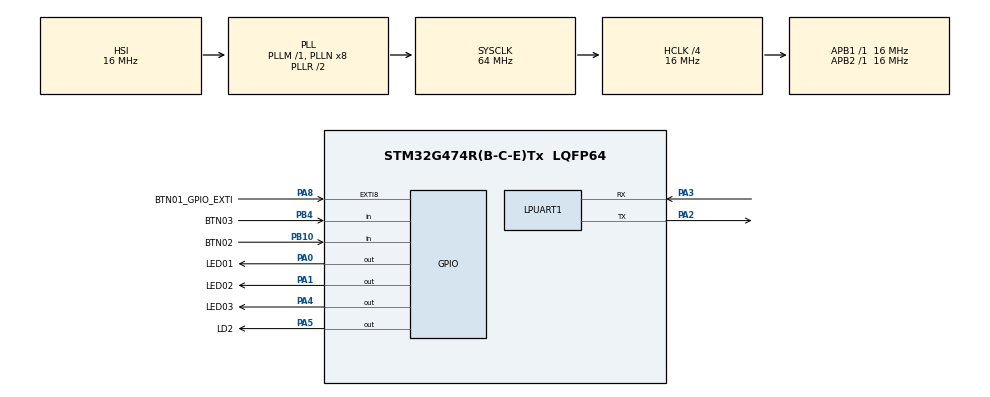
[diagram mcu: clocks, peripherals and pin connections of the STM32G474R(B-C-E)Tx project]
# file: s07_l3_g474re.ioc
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Dma.LPUART1_TX.0.Direction=DMA_MEMORY_TO_PERIPH
Dma.LPUART1_TX.0.EventEnable=DISABLE
Dma.LPUART1_TX.0.Instance=DMA1_Channel1
Dma.LPUART1_TX.0.MemDataAlignment=DMA_MDATAALIGN_BYTE
Dma.LPUART1_TX.0.MemInc=DMA_MINC_ENABLE
Dma.LPUART1_TX.0.Mode=DMA_NORMAL
Dma.LPUART1_TX.0.PeriphDataAlignment=DMA_PDATAALIGN_BYTE
Dma.LPUART1_TX.0.PeriphInc=DMA_PINC_DISABLE
Dma.LPUART1_TX.0.Polarity=HAL_DMAMUX_REQ_GEN_RISING
Dma.LPUART1_TX.0.Priority=DMA_PRIORITY_LOW
Dma.LPUART1_TX.0.RequestNumber=1
Dma.LPUART1_TX.0.SignalID=NONE
Dma.LPUART1_TX.0.SyncEnable=DISABLE
Dma.LPUART1_TX.0.SyncPolarity=HAL_DMAMUX_SYNC_NO_EVENT
Dma.LPUART1_TX.0.SyncRequestNumber=1
Dma.LPUART1_TX.0.SyncSignalID=NONE
Dma.Request0=LPUART1_TX
Mcu.Family=STM32G4
Mcu.Name=STM32G474R(B-C-E)Tx
Mcu.Package=LQFP64
NVIC.DMA1_Channel1_IRQn=true\:0\:0\:false\:false\:true\:false\:true\:true
NVIC.EXTI9_5_IRQn=true\:5\:0\:true\:false\:true\:true\:true\:true
NVIC.LPUART1_IRQn=true\:6\:0\:true\:false\:true\:true\:true\:true
NVIC.PriorityGroup=NVIC_PRIORITYGROUP_4
NVIC.TIM1_BRK_TIM15_IRQn=true\:15\:0\:false\:false\:true\:false\:true\:true
NVIC.TimeBase=TIM1_BRK_TIM15_IRQn
NVIC.TimeBaseIP=TIM15
PA0.GPIO_Label=LED01
PA0.Signal=GPIO_Output
PA1.GPIO_Label=LED02
PA1.Signal=GPIO_Output
PA13.Mode=Serial_Wire
PA13.Signal=SYS_JTMS-SWDIO
PA14.Mode=Serial_Wire
PA14.Signal=SYS_JTCK-SWCLK
PA2.Mode=Asynchronous
PA2.Signal=LPUART1_TX
PA3.Mode=Asynchronous
PA3.Signal=LPUART1_RX
PA4.GPIO_Label=LED03
PA4.Signal=GPIO_Output
PA5.GPIO_Label=LD2
PA5.Signal=GPIO_Output
PA8.GPIO_Label=BTN01_GPIO_EXTI
PA8.GPIO_ModeDefaultEXTI=GPIO_MODE_IT_FALLING
PA8.GPIO_PuPd=GPIO_PULLUP
PA8.Signal=GPXTI8
PB10.GPIO_Label=BTN02
PB10.GPIO_PuPd=GPIO_PULLUP
PB10.Signal=GPIO_Input
PB4.GPIO_Label=BTN03
PB4.GPIO_PuPd=GPIO_PULLUP
PB4.Signal=GPIO_Input
ProjectManager.HeapSize=0x200
ProjectManager.StackSize=0x400
ProjectManager.TargetToolchain=STM32CubeIDE
RCC.ADC12Freq_Value=64000000
RCC.ADC345Freq_Value=64000000
RCC.AHBCLKDivider=RCC_SYSCLK_DIV4
RCC.AHBFreq_Value=16000000
RCC.APB1Freq_Value=16000000
RCC.APB1TimFreq_Value=16000000
RCC.APB2Freq_Value=16000000
RCC.APB2TimFreq_Value=16000000
RCC.CortexFreq_Value=16000000
RCC.EXTERNAL_CLOCK_VALUE=12288000
RCC.HCLKFreq_Value=16000000
RCC.HSE_VALUE=24000000
RCC.HSI48_VALUE=48000000
RCC.HSI_VALUE=16000000
RCC.LSE_VALUE=32768
RCC.RTCClockSelection=RCC_RTCCLKSOURCE_LSE
RCC.SYSCLKFreq_VALUE=64000000
RCC.SYSCLKSource=RCC_SYSCLKSOURCE_PLLCLK
RCC.USBFreq_Value=64000000
RCC.VCOOutputFreq_Value=128000000
VP_SYS_VS_DBSignals.Mode=DisableDeadBatterySignals
VP_SYS_VS_tim15.Mode=TIM15
board=NUCLEO-G474RE

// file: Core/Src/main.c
/* USER CODE BEGIN Header */
/**
  ******************************************************************************
  * @file           : main.c
  * @brief          : Main program body
  ******************************************************************************
  * @attention
  *
  * Copyright (c) 2026 STMicroelectronics.
  * All rights reserved.
  *
  * This software is licensed under terms that can be found in the LICENSE file
  * in the root directory of this software component.
  * If no LICENSE file comes with this software, it is provided AS-IS.
  *
  ******************************************************************************

  */
/* USER CODE END Header */
#include "main.h"

/* USER CODE BEGIN Includes */
#include <stdio.h>
#include <string.h>
#include "FreeRTOS.h"
#include "task.h"
#include <semphr.h>
/* USER CODE END Includes */

UART_HandleTypeDef hlpuart1;
DMA_HandleTypeDef hdma_lpuart1_tx;

/* USER CODE BEGIN PV */

UBaseType_t xWaterMark01 = 0, xWaterMark02 = 0, xWaterMark03 = 0;

SemaphoreHandle_t xUartTxSemaphore = NULL;
SemaphoreHandle_t xMessageMutex = NULL;

/* USER CODE END PV */

void SystemClock_Config(void);
static void MX_GPIO_Init(void);
static void MX_DMA_Init(void);
static void MX_LPUART1_UART_Init(void);

/* USER CODE BEGIN 0 */

/* Hardware realted functions */

// Led interno da NUCLEO-G474RE
void LedLD2On(){
	HAL_GPIO_WritePin(LD2_GPIO_Port, LD2_Pin, GPIO_PIN_SET);
}

void LedLD2Off(){
	HAL_GPIO_WritePin(LD2_GPIO_Port, LD2_Pin, GPIO_PIN_RESET);
}

void Led01On(){
	HAL_GPIO_WritePin(LED01_GPIO_Port, LED01_Pin, GPIO_PIN_SET);
}

void Led01Off(){
	HAL_GPIO_WritePin(LED01_GPIO_Port, LED01_Pin, GPIO_PIN_RESET);
}

void Led02On(){
	HAL_GPIO_WritePin(LED02_GPIO_Port, LED02_Pin, GPIO_PIN_SET);
}

void Led02Off(){
	HAL_GPIO_WritePin(LED02_GPIO_Port, LED02_Pin, GPIO_PIN_RESET);
}

void Led03On(){
	HAL_GPIO_WritePin(LED03_GPIO_Port, LED03_Pin, GPIO_PIN_SET);
}

void Led03Off(){
	HAL_GPIO_WritePin(LED03_GPIO_Port, LED03_Pin, GPIO_PIN_RESET);
}
/* Local functions*/

/* Callbacks */
void HAL_UART_TxHalfCpltCallback(UART_HandleTypeDef *huart){
	BaseType_t pxHigherPriorityTaskWoken = pdFALSE;

	// Libera o semaforo
	xSemaphoreGiveFromISR(xUartTxSemaphore, &pxHigherPriorityTaskWoken);

	portYIELD_FROM_ISR(pxHigherPriorityTaskWoken);
}

void HAL_GPIO_EXTI_Callback(uint16_t GPIO_Pin){

}

/* Tasks */
void TaskUartMessageFromMars(void *pvParams){
	char pcMessage[64];
	uint32_t u32MessageIdx = 0;

	while (1){
		// Retorna a quantidade mínima de espaço livre que restou na pilha
		xWaterMark01 = uxTaskGetStackHighWaterMark( NULL );

		sprintf(pcMessage, "[%lu] This is a message from Mars to Earth\n", u32MessageIdx);

		// Obter o mutex
		xSemaphoreTake(xMessageMutex, portMAX_DELAY);
		Led01On();

		HAL_UART_Transmit_DMA(&hlpuart1, (uint8_t*)pcMessage, strlen(pcMessage));

		// Obter o semaforo
		xSemaphoreTake(xUartTxSemaphore, portMAX_DELAY);
		Led01Off();

		xSemaphoreGive(xMessageMutex); // libera o mutex

		u32MessageIdx++;
		vTaskDelay(100);
	}
}

void TaskUartMessageFromVenus(void *pvParams){
	char pcMessage[64];
	uint32_t u32MessageIdx = 0;

	while (1){
		// Retorna a quantidade mínima de espaço livre que restou na pilha
		xWaterMark02 = uxTaskGetStackHighWaterMark( NULL );

		sprintf(pcMessage, "[%lu] This is a message from Venus to Earth\n", u32MessageIdx);

		// Obter o mutex
		xSemaphoreTake(xMessageMutex, portMAX_DELAY);
		Led02On();

		HAL_UART_Transmit_DMA(&hlpuart1, (uint8_t*)pcMessage, strlen(pcMessage));

		// Obter o semaforo
		xSemaphoreTake(xUartTxSemaphore, portMAX_DELAY);
		Led02Off();

		xSemaphoreGive(xMessageMutex); // libera o mutex

		u32MessageIdx++;
		vTaskDelay(100);
	}
}

void TaskUartMessageFromSaturn(void *pvParams){
	char pcMessage[64];
	uint32_t u32MessageIdx = 0;

	while (1){
		// Retorna a quantidade mínima de espaço livre que restou na pilha
		xWaterMark03 = uxTaskGetStackHighWaterMark( NULL );

		sprintf(pcMessage, "[%lu] This is a message from Saturn to Earth\n", u32MessageIdx);

		// Obter o mutex
		xSemaphoreTake(xMessageMutex, portMAX_DELAY);
		Led03On();

		HAL_UART_Transmit_DMA(&hlpuart1, (uint8_t*)pcMessage, strlen(pcMessage));

		// Obter o semaforo
		xSemaphoreTake(xUartTxSemaphore, portMAX_DELAY);
		Led03Off();

		xSemaphoreGive(xMessageMutex); // libera o mutex

		u32MessageIdx++;
		vTaskDelay(100);
	}
}

/* Hooks*/
void vApplicationStackOverflowHook( TaskHandle_t xTask, char *pcTaskName ){
	Error_Handler();
	LedLD2Off();
}

/* USER CODE END 0 */

int main(void)
{

  /* USER CODE BEGIN 1 */
	TaskHandle_t TaskHandle01, TaskHandle02, TaskHandle03;
	BaseType_t xReturn;
	BaseType_t uxStackDepth = 164; // em words

  /* USER CODE END 1 */

  /* MCU Configuration--------------------------------------------------------*/

  /* Reset of all peripherals, Initializes the Flash interface and the Systick. */
  HAL_Init();

  /* Configure the system clock */
  SystemClock_Config();

  /* Initialize all configured peripherals */
  MX_GPIO_Init();
  MX_DMA_Init();
  MX_LPUART1_UART_Init();
  /* USER CODE BEGIN 2 */

  LedLD2On();

  // Criando as task
  xReturn = xTaskCreate(TaskUartMessageFromMars,
  		  "Task Mars",
		  uxStackDepth,
  		  NULL,
  		  1,
  		  &TaskHandle01);

  if (xReturn != pdPASS){
    Error_Handler();
  }

  xReturn = xTaskCreate(TaskUartMessageFromVenus,
			"Task Venus",
			uxStackDepth,
			NULL,
			1,
			&TaskHandle02);

    if (xReturn != pdPASS){
      Error_Handler();
    }

    xReturn = xTaskCreate(TaskUartMessageFromSaturn,
		  "Task Saturn",
		  uxStackDepth,
		  NULL,
		  1,
		  &TaskHandle03);

  if (xReturn != pdPASS){
	Error_Handler();
  }

  // Criando o semaforo
  xUartTxSemaphore = xSemaphoreCreateBinary();

  // Criando o mutex
  xMessageMutex = xSemaphoreCreateMutex();

  /* USER CODE END 2 */

  /* Infinite loop */
  /* USER CODE BEGIN WHILE */

  // Inicializando o FreeRTOS
  vTaskStartScheduler();

  /* Never reaches here */
  while (1)
  {
    /* USER CODE END WHILE */

  }
}

void SystemClock_Config(void)
{
  RCC_OscInitTypeDef RCC_OscInitStruct = {0};
  RCC_ClkInitTypeDef RCC_ClkInitStruct = {0};

  /** Configure the main internal regulator output voltage
  */
  HAL_PWREx_ControlVoltageScaling(PWR_REGULATOR_VOLTAGE_SCALE1);

  /** Initializes the RCC Oscillators according to the specified parameters
  * in the RCC_OscInitTypeDef structure.
  */
  RCC_OscInitStruct.OscillatorType = RCC_OSCILLATORTYPE_HSI;
  RCC_OscInitStruct.HSIState = RCC_HSI_ON;
  RCC_OscInitStruct.HSICalibrationValue = RCC_HSICALIBRATION_DEFAULT;
  RCC_OscInitStruct.PLL.PLLState = RCC_PLL_ON;
  RCC_OscInitStruct.PLL.PLLSource = RCC_PLLSOURCE_HSI;
  RCC_OscInitStruct.PLL.PLLM = RCC_PLLM_DIV1;
  RCC_OscInitStruct.PLL.PLLN = 8;
  RCC_OscInitStruct.PLL.PLLP = RCC_PLLP_DIV2;
  RCC_OscInitStruct.PLL.PLLQ = RCC_PLLQ_DIV2;
  RCC_OscInitStruct.PLL.PLLR = RCC_PLLR_DIV2;
  if (HAL_RCC_OscConfig(&RCC_OscInitStruct) != HAL_OK)
  {
    Error_Handler();
  }

  /** Initializes the CPU, AHB and APB buses clocks
  */
  RCC_ClkInitStruct.ClockType = RCC_CLOCKTYPE_HCLK|RCC_CLOCKTYPE_SYSCLK
                              |RCC_CLOCKTYPE_PCLK1|RCC_CLOCKTYPE_PCLK2;
  RCC_ClkInitStruct.SYSCLKSource = RCC_SYSCLKSOURCE_PLLCLK;
  RCC_ClkInitStruct.AHBCLKDivider = RCC_SYSCLK_DIV4;
  RCC_ClkInitStruct.APB1CLKDivider = RCC_HCLK_DIV1;
  RCC_ClkInitStruct.APB2CLKDivider = RCC_HCLK_DIV1;

  if (HAL_RCC_ClockConfig(&RCC_ClkInitStruct, FLASH_LATENCY_0) != HAL_OK)
  {
    Error_Handler();
  }
}

static void MX_LPUART1_UART_Init(void)
{

  hlpuart1.Instance = LPUART1;
  hlpuart1.Init.BaudRate = 115200;
  hlpuart1.Init.WordLength = UART_WORDLENGTH_8B;
  hlpuart1.Init.StopBits = UART_STOPBITS_1;
  hlpuart1.Init.Parity = UART_PARITY_NONE;
  hlpuart1.Init.Mode = UART_MODE_TX_RX;
  hlpuart1.Init.HwFlowCtl = UART_HWCONTROL_NONE;
  hlpuart1.Init.OneBitSampling = UART_ONE_BIT_SAMPLE_DISABLE;
  hlpuart1.Init.ClockPrescaler = UART_PRESCALER_DIV1;
  hlpuart1.AdvancedInit.AdvFeatureInit = UART_ADVFEATURE_NO_INIT;
  if (HAL_UART_Init(&hlpuart1) != HAL_OK)
  {
    Error_Handler();
  }
  if (HAL_UARTEx_SetTxFifoThreshold(&hlpuart1, UART_TXFIFO_THRESHOLD_1_8) != HAL_OK)
  {
    Error_Handler();
  }
  if (HAL_UARTEx_SetRxFifoThreshold(&hlpuart1, UART_RXFIFO_THRESHOLD_1_8) != HAL_OK)
  {
    Error_Handler();
  }
  if (HAL_UARTEx_DisableFifoMode(&hlpuart1) != HAL_OK)
  {
    Error_Handler();
  }

}

static void MX_DMA_Init(void)
{

  /* DMA controller clock enable */
  __HAL_RCC_DMAMUX1_CLK_ENABLE();
  __HAL_RCC_DMA1_CLK_ENABLE();

  /* DMA interrupt init */
  /* DMA1_Channel1_IRQn interrupt configuration */
  HAL_NVIC_SetPriority(DMA1_Channel1_IRQn, 5, 0); // EDIT
  HAL_NVIC_EnableIRQ(DMA1_Channel1_IRQn);

}

static void MX_GPIO_Init(void)
{
  GPIO_InitTypeDef GPIO_InitStruct = {0};

  /* GPIO Ports Clock Enable */
  __HAL_RCC_GPIOA_CLK_ENABLE();
  __HAL_RCC_GPIOB_CLK_ENABLE();

  /*Configure GPIO pin Output Level */
  HAL_GPIO_WritePin(GPIOA, LED01_Pin|LED02_Pin|LED03_Pin|LD2_Pin, GPIO_PIN_RESET);

  /*Configure GPIO pins : LED01_Pin LED02_Pin LED03_Pin LD2_Pin */
  GPIO_InitStruct.Pin = LED01_Pin|LED02_Pin|LED03_Pin|LD2_Pin;
  GPIO_InitStruct.Mode = GPIO_MODE_OUTPUT_PP;
  GPIO_InitStruct.Pull = GPIO_NOPULL;
  GPIO_InitStruct.Speed = GPIO_SPEED_FREQ_LOW;
  HAL_GPIO_Init(GPIOA, &GPIO_InitStruct);

  /*Configure GPIO pins : BTN02_Pin BTN03_Pin */
  GPIO_InitStruct.Pin = BTN02_Pin|BTN03_Pin;
  GPIO_InitStruct.Mode = GPIO_MODE_INPUT;
  GPIO_InitStruct.Pull = GPIO_PULLUP;
  HAL_GPIO_Init(GPIOB, &GPIO_InitStruct);

  /*Configure GPIO pin : BTN01_GPIO_EXTI_Pin */
  GPIO_InitStruct.Pin = BTN01_GPIO_EXTI_Pin;
  GPIO_InitStruct.Mode = GPIO_MODE_IT_FALLING;
  GPIO_InitStruct.Pull = GPIO_PULLUP;
  HAL_GPIO_Init(BTN01_GPIO_EXTI_GPIO_Port, &GPIO_InitStruct);

  /* EXTI interrupt init*/
  HAL_NVIC_SetPriority(EXTI9_5_IRQn, 5, 0);
  HAL_NVIC_EnableIRQ(EXTI9_5_IRQn);

}

/* USER CODE BEGIN 4 */

// Redireciona os Prints para a USART
int __io_putchar(int ch){
	HAL_UART_Transmit(&hlpuart1, (uint8_t*)&ch, 1, HAL_MAX_DELAY);
	return ch;
}
/* USER CODE END 4 */

void HAL_TIM_PeriodElapsedCallback(TIM_HandleTypeDef *htim)
{
  if (htim->Instance == TIM15)
  {
    HAL_IncTick();
  }
}

void Error_Handler(void)
{
  __disable_irq();
  while (1)
  {
  }
}
